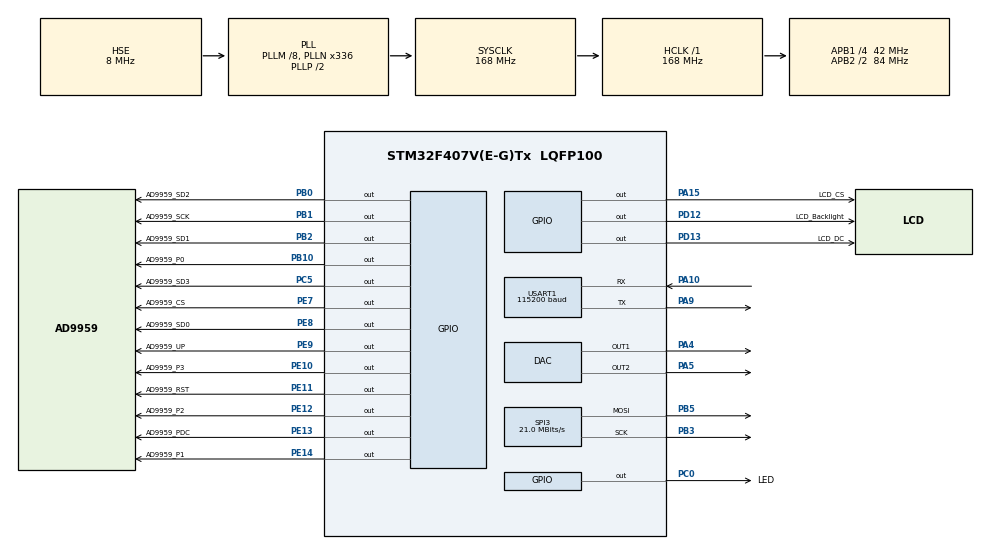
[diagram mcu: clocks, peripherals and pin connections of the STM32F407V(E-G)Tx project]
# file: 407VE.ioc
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DAC.DAC_OutputBuffer=DAC_OUTPUTBUFFER_DISABLE
DAC.DAC_OutputBuffer2=DAC_OUTPUTBUFFER_DISABLE
DAC.DAC_Trigger=DAC_TRIGGER_SOFTWARE
DAC.DAC_Trigger2=DAC_TRIGGER_SOFTWARE
Mcu.Family=STM32F4
Mcu.Name=STM32F407V(E-G)Tx
Mcu.Package=LQFP100
NVIC.PriorityGroup=NVIC_PRIORITYGROUP_4
NVIC.USART1_IRQn=true\:0\:0\:false\:false\:true\:true\:true\:true
PA10.Mode=Asynchronous
PA10.Signal=USART1_RX
PA13.Mode=Serial_Wire
PA13.Signal=SYS_JTMS-SWDIO
PA14.Mode=Serial_Wire
PA14.Signal=SYS_JTCK-SWCLK
PA15.GPIO_Label=LCD_CS
PA15.PinState=GPIO_PIN_SET
PA15.Signal=GPIO_Output
PA4.Signal=COMP_DAC1_group
PA5.Signal=COMP_DAC2_group
PA9.Mode=Asynchronous
PA9.Signal=USART1_TX
PB0.GPIO_Label=AD9959_SD2
PB0.GPIO_Speed=GPIO_SPEED_FREQ_HIGH
PB0.Signal=GPIO_Output
PB1.GPIO_Label=AD9959_SCK
PB1.GPIO_Speed=GPIO_SPEED_FREQ_HIGH
PB1.Signal=GPIO_Output
PB10.GPIO_Label=AD9959_P0
PB10.GPIO_Speed=GPIO_SPEED_FREQ_HIGH
PB10.Signal=GPIO_Output
PB2.GPIO_Label=AD9959_SD1
PB2.GPIO_Speed=GPIO_SPEED_FREQ_HIGH
PB2.Signal=GPIO_Output
PB3.Mode=TX_Only_Simplex_Unidirect_Master
PB3.Signal=SPI3_SCK
PB5.Mode=TX_Only_Simplex_Unidirect_Master
PB5.Signal=SPI3_MOSI
PC0.GPIO_Label=LED
PC0.GPIO_ModeDefaultOutputPP=GPIO_MODE_OUTPUT_OD
PC0.GPIO_PuPd=GPIO_NOPULL
PC0.Signal=GPIO_Output
PC14-OSC32_IN.Mode=LSE-External-Oscillator
PC14-OSC32_IN.Signal=RCC_OSC32_IN
PC15-OSC32_OUT.Mode=LSE-External-Oscillator
PC15-OSC32_OUT.Signal=RCC_OSC32_OUT
PC5.GPIO_Label=AD9959_SD3
PC5.GPIO_Speed=GPIO_SPEED_FREQ_HIGH
PC5.Signal=GPIO_Output
PD12.GPIO_Label=LCD_Backlight
PD12.Signal=GPIO_Output
PD13.GPIO_Label=LCD_DC
PD13.PinState=GPIO_PIN_SET
PD13.Signal=GPIO_Output
PE10.GPIO_Label=AD9959_P3
PE10.GPIO_Speed=GPIO_SPEED_FREQ_HIGH
PE10.Signal=GPIO_Output
PE11.GPIO_Label=AD9959_RST
PE11.GPIO_Speed=GPIO_SPEED_FREQ_HIGH
PE11.Signal=GPIO_Output
PE12.GPIO_Label=AD9959_P2
PE12.GPIO_Speed=GPIO_SPEED_FREQ_HIGH
PE12.Signal=GPIO_Output
PE13.GPIO_Label=AD9959_PDC
PE13.GPIO_Speed=GPIO_SPEED_FREQ_HIGH
PE13.Signal=GPIO_Output
PE14.GPIO_Label=AD9959_P1
PE14.GPIO_Speed=GPIO_SPEED_FREQ_HIGH
PE14.Signal=GPIO_Output
PE7.GPIO_Label=AD9959_CS
PE7.GPIO_Speed=GPIO_SPEED_FREQ_HIGH
PE7.PinState=GPIO_PIN_SET
PE7.Signal=GPIO_Output
PE8.GPIO_Label=AD9959_SD0
PE8.GPIO_Speed=GPIO_SPEED_FREQ_HIGH
PE8.Signal=GPIO_Output
PE9.GPIO_Label=AD9959_UP
PE9.GPIO_Speed=GPIO_SPEED_FREQ_HIGH
PE9.Signal=GPIO_Output
PH0-OSC_IN.Mode=HSE-External-Oscillator
PH0-OSC_IN.Signal=RCC_OSC_IN
PH1-OSC_OUT.Mode=HSE-External-Oscillator
PH1-OSC_OUT.Signal=RCC_OSC_OUT
ProjectManager.HeapSize=0x200
ProjectManager.StackSize=0x400
ProjectManager.TargetToolchain=MDK-ARM V5.32
RCC.48MHZClocksFreq_Value=48000000
RCC.AHBFreq_Value=168000000
RCC.APB1CLKDivider=RCC_HCLK_DIV4
RCC.APB1Freq_Value=42000000
RCC.APB1TimFreq_Value=84000000
RCC.APB2CLKDivider=RCC_HCLK_DIV2
RCC.APB2Freq_Value=84000000
RCC.APB2TimFreq_Value=168000000
RCC.CortexFreq_Value=168000000
RCC.HCLKFreq_Value=168000000
RCC.HSE_VALUE=8000000
RCC.HSI_VALUE=16000000
RCC.PLLM=8
RCC.PLLN=336
RCC.PLLQ=7
RCC.PLLSourceVirtual=RCC_PLLSOURCE_HSE
RCC.RCC_RTC_Clock_Source=RCC_RTCCLKSOURCE_LSE
RCC.RCC_RTC_Clock_SourceVirtual=RCC_RTCCLKSOURCE_LSE
RCC.SYSCLKFreq_VALUE=168000000
RCC.SYSCLKSource=RCC_SYSCLKSOURCE_PLLCLK
RCC.VCOOutputFreq_Value=336000000
SH.COMP_DAC1_group.0=DAC_OUT1,DAC_OUT1
SH.COMP_DAC2_group.0=DAC_OUT2,DAC_OUT2
SPI3.CalculateBaudRate=21.0 MBits/s
SPI3.Direction=SPI_DIRECTION_2LINES
SPI3.Mode=SPI_MODE_MASTER
SPI3.VirtualType=VM_MASTER
USART1.BaudRate=115200
USART1.VirtualMode=VM_ASYNC
VP_RTC_VS_RTC_Activate.Mode=RTC_Enabled
VP_TIM6_VS_ClockSourceINT.Mode=Enable_Timer
board=custom

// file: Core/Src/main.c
/* USER CODE BEGIN Header */
/**
  ******************************************************************************
  * @file           : main.c
  * @brief          : Main program body
  ******************************************************************************
  * @attention
  *
  * Copyright (c) 2025 STMicroelectronics.
  * All rights reserved.
  *
  * This software is licensed under terms that can be found in the LICENSE file
  * in the root directory of this software component.
  * If no LICENSE file comes with this software, it is provided AS-IS.
  *
  ******************************************************************************
  */
/* USER CODE END Header */
#include "main.h"
#include "dac.h"
#include "rtc.h"
#include "spi.h"
#include "tim.h"
#include "usart.h"
#include "gpio.h"

/* USER CODE BEGIN Includes */

#include "AD9959.H"
#include "AM_9959.h"
#include "delay.h"

/* USER CODE END Includes */

/* USER CODE BEGIN PV */
uint8_t freq=30; //MHz freq of carrier
uint8_t amp=1;//100mV effective value of carrier
uint8_t md=0;//% modulation depth of a&b signal
uint8_t tdelay=5;//10ns delay of b signal
uint8_t atten=0;//db attenuation of b signal
uint8_t sphase=0;//degree start phase of b signal

/* USER CODE END PV */

void SystemClock_Config(void);

int main(void)
{

  /* MCU Configuration--------------------------------------------------------*/

  /* Reset of all peripherals, Initializes the Flash interface and the Systick. */
  HAL_Init();

  /* Configure the system clock */
  SystemClock_Config();

  /* Initialize all configured peripherals */
  MX_GPIO_Init();
  MX_RTC_Init();
  MX_SPI3_Init();
  MX_USART1_UART_Init();
  MX_TIM6_Init();
  MX_DAC_Init();
  /* USER CODE BEGIN 2 */
  AM_Init();
  AM_Instance* AM_PTRS[2]={&AM1, &AM2};
  delay_init();

	SPI_LCD_Init();
	syslog("LCD Init Success");
	initRingBuffer();
	HAL_UART_Receive_IT(&TJC_UART, RxBuffer, 1);
	char str[100];
	uint32_t nowtime = HAL_GetTick();
	syslog("Hmi Init Success");
	Init_AD9959();
	HAL_Delay(100);
  AD9959_IO_Update();
	syslog("AD9959 Init Success");
	syslog("Init Success");
  /* USER CODE END 2 */

  /* Infinite loop */
  /* USER CODE BEGIN WHILE */

	AM_SetModulationFreq(&AM1,2000000);
  while (1)
  {

		while (getRingBufferLength() >= FRAME_LENGTH)
		{

			if (getRingBufferLength() >= FRAME_LENGTH &&
				read1ByteFromRingBuffer(0) == 0x55 &&
			read1ByteFromRingBuffer(4) == 0xFF &&
			read1ByteFromRingBuffer(5) == 0xFF &&
			read1ByteFromRingBuffer(6) == 0xFF)//检查帧头及帧尾
			{
				uint8_t operation_flag=read1ByteFromRingBuffer(1);
				if (operation_flag == 0x00)
				{
					freq=read1ByteFromRingBuffer(2);
					sprintf(str,"Cfreq changed to %d MHz",freq);syslog(str);

					uint32_t cfreq=freq*1000000;
					AM_SetCarrierFreq(&AM1, cfreq);
					AM_SetCarrierFreq(&AM2, cfreq);
				}
				else if (operation_flag == 0x01)
				{
					amp=read1ByteFromRingBuffer(2);
					sprintf(str,"EffValue changed to %d00mV",amp);syslog(str);
				}
				else if (operation_flag == 0x02)
				{
					md=read1ByteFromRingBuffer(2);
					sprintf(str,"ModuDepth changed to %d %%",md);syslog(str);

					float MD=((float)md)/100;
					AM_SetMDepth(&AM1,MD);
					AM_SetMDepth(&AM2,MD);
				}
				else if (operation_flag == 0x03)
				{
					tdelay=read1ByteFromRingBuffer(2);
					sprintf(str,"Bsig delay changed to %d0ns",tdelay);syslog(str);

					uint16_t TD=tdelay;
					AM_SetTDelay(&AM1,&AM2,TD);
				}
				else if (operation_flag == 0x04)
				{
					atten=read1ByteFromRingBuffer(2);
					sprintf(str,"Bsig atten changed to %ddb",atten);syslog(str);
				}
				else if (operation_flag == 0x05)
				{
					sphase=read1ByteFromRingBuffer(2);
					sprintf(str,"Bsig delay changed to %d0°",sphase);syslog(str);
				}
				deleteRingBuffer(7);
			} else
			{
				deleteRingBuffer(1);
				break;
			}
		}
	LED;
	AM_ApplyChanges(AM_PTRS,2);
	HAL_Delay(1);
	}
    /* USER CODE END WHILE */

}

void SystemClock_Config(void)
{
  RCC_OscInitTypeDef RCC_OscInitStruct = {0};
  RCC_ClkInitTypeDef RCC_ClkInitStruct = {0};

  /** Configure the main internal regulator output voltage
  */
  __HAL_RCC_PWR_CLK_ENABLE();
  __HAL_PWR_VOLTAGESCALING_CONFIG(PWR_REGULATOR_VOLTAGE_SCALE1);

  /** Initializes the RCC Oscillators according to the specified parameters
  * in the RCC_OscInitTypeDef structure.
  */
  RCC_OscInitStruct.OscillatorType = RCC_OSCILLATORTYPE_HSE|RCC_OSCILLATORTYPE_LSE;
  RCC_OscInitStruct.HSEState = RCC_HSE_ON;
  RCC_OscInitStruct.LSEState = RCC_LSE_ON;
  RCC_OscInitStruct.PLL.PLLState = RCC_PLL_ON;
  RCC_OscInitStruct.PLL.PLLSource = RCC_PLLSOURCE_HSE;
  RCC_OscInitStruct.PLL.PLLM = 8;
  RCC_OscInitStruct.PLL.PLLN = 336;
  RCC_OscInitStruct.PLL.PLLP = RCC_PLLP_DIV2;
  RCC_OscInitStruct.PLL.PLLQ = 7;
  if (HAL_RCC_OscConfig(&RCC_OscInitStruct) != HAL_OK)
  {
    Error_Handler();
  }

  /** Initializes the CPU, AHB and APB buses clocks
  */
  RCC_ClkInitStruct.ClockType = RCC_CLOCKTYPE_HCLK|RCC_CLOCKTYPE_SYSCLK
                              |RCC_CLOCKTYPE_PCLK1|RCC_CLOCKTYPE_PCLK2;
  RCC_ClkInitStruct.SYSCLKSource = RCC_SYSCLKSOURCE_PLLCLK;
  RCC_ClkInitStruct.AHBCLKDivider = RCC_SYSCLK_DIV1;
  RCC_ClkInitStruct.APB1CLKDivider = RCC_HCLK_DIV4;
  RCC_ClkInitStruct.APB2CLKDivider = RCC_HCLK_DIV2;

  if (HAL_RCC_ClockConfig(&RCC_ClkInitStruct, FLASH_LATENCY_5) != HAL_OK)
  {
    Error_Handler();
  }
}

/* USER CODE BEGIN 4 */

/********************************************************
usart callback
**********************************************************/
void HAL_UART_RxCpltCallback(UART_HandleTypeDef *huart)
{

	if(huart->Instance == TJC_UART_INS)
	{
		write1ByteToRingBuffer(RxBuffer[0]);
		HAL_UART_Receive_IT(&TJC_UART,RxBuffer,1);
	}
	return;
}
/* USER CODE END 4 */

void Error_Handler(void)
{
  __disable_irq();
  while (1)
  {
  }
}
